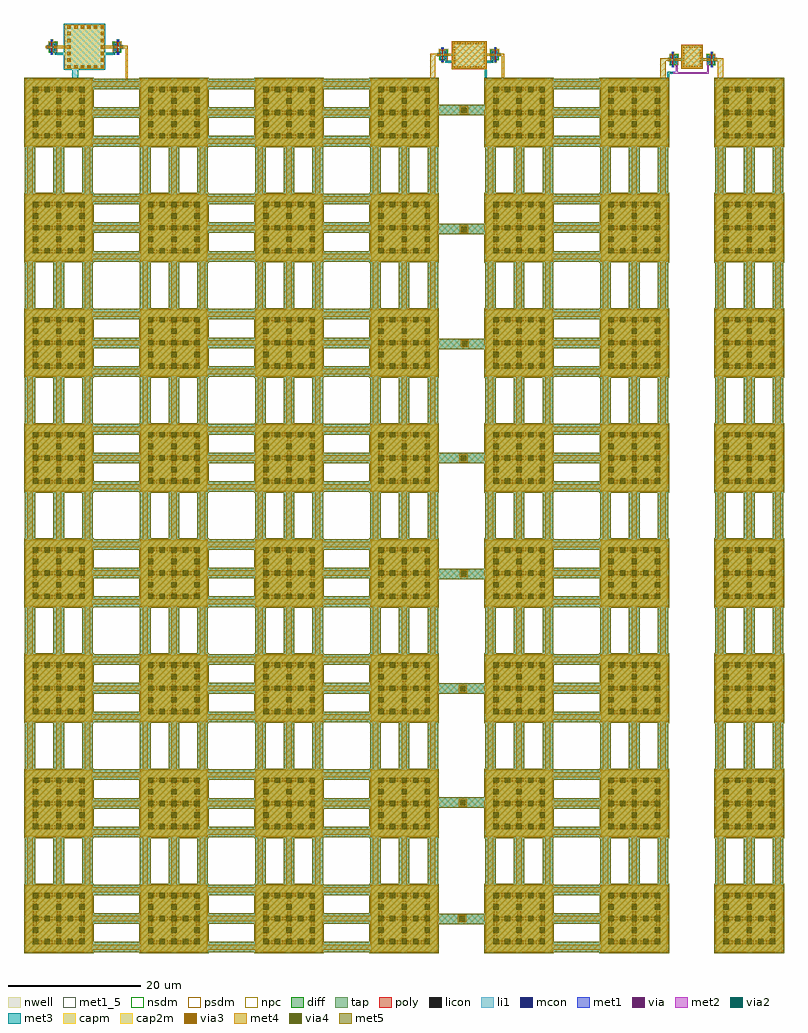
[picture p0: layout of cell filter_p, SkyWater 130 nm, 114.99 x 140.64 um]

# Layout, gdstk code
from math import pi, radians
import gdstk
lib = gdstk.Library(unit=1e-6, precision=1e-09)
def R(c, l, rs):  # rectangles x0, y0, x1, y1
    for r in rs: c.add(gdstk.rectangle(r[:2], r[2:], *l))
def A(c, l, x, y, w, h, nx, ny, dx, dy):  # array of equal rectangles
    R(c, l, [(x+i*dx, y+j*dy, x+i*dx+w, y+j*dy+h) for i in range(nx) for j in range(ny)])
nwell = (64, 20)
diff = (65, 20)
tap = (65, 44)
poly = (66, 20)
licon = (66, 44)
li1 = (67, 20)
mcon = (67, 44)
met1_5 = (68, 5)
met1 = (68, 20)
via = (68, 44)
met2 = (69, 20)
via2 = (69, 44)
met3 = (70, 20)
via3 = (70, 44)
met4 = (71, 20)
via4 = (71, 44)
met5 = (72, 20)
capm = (89, 44)
nsdm = (93, 44)
psdm = (94, 20)
npc = (95, 20)
cap2m = (97, 44)

cmos_switch_fin = lib.new_cell('cmos_switch_fin')
R(cmos_switch_fin, nwell, [(-0.47,0.81,0.925,1.65)])
R(cmos_switch_fin, diff, [(-0.29,0.05,0.46,0.47), (-0.29,0.995,0.455,1.415)])
R(cmos_switch_fin, tap, [(0.46,0.05,0.75,0.47), (0.455,0.995,0.745,1.415)])
R(cmos_switch_fin, poly, [(-0.01,-0.39,0.16,-0.36), (-0.06,-0.36,0.21,-0.08), (-0.01,-0.08,0.16,-0.06), (0,-0.06,0.15,0.6), (0,0.865,0.15,1.575), (-0.01,1.575,0.16,1.595), (-0.06,1.595,0.21,1.875), (-0.01,1.875,0.16,1.905)])
R(cmos_switch_fin, licon, [(-0.01,-0.31,0.16,-0.14), (-0.25,0.18,-0.08,0.35), (0.23,0.18,0.4,0.35), (0.58,0.18,0.75,0.35), (-0.25,1.115,-0.08,1.285), (0.23,1.115,0.4,1.285), (0.57,1.115,0.74,1.285), (-0.01,1.655,0.16,1.825)])
R(cmos_switch_fin, li1, [(-0.01,-0.39,0.16,-0.06), (0.58,-0.365,0.75,0.43), (-0.25,0.1,-0.08,0.68), (0.23,0.1,0.4,0.68), (-0.47,0.68,-0.08,0.85), (0.23,0.68,0.62,0.85), (-0.25,0.85,-0.08,1.365), (0.23,0.85,0.4,1.365), (0.57,1.035,0.74,1.365), (-0.01,1.575,0.16,1.905)])
R(cmos_switch_fin, mcon, [(0.58,-0.365,0.75,-0.195), (-0.01,-0.31,0.16,-0.14), (-0.47,0.68,-0.3,0.85), (0.45,0.68,0.62,0.85), (-0.01,1.65,0.16,1.82)])
R(cmos_switch_fin, met1_5, [(-0.01,-0.31,0.16,-0.14), (-0.47,0.68,-0.3,0.85), (0.45,0.68,0.62,0.85), (-0.01,1.65,0.16,1.82)])
R(cmos_switch_fin, met1, [(0.52,-0.44,0.81,-0.115), (-0.08,-0.38,0.23,-0.06), (-0.545,0.605,-0.225,0.925), (0.375,0.61,0.695,0.92), (-0.08,1.57,0.23,1.89)])
R(cmos_switch_fin, via, [(0.59,-0.355,0.74,-0.205), (-0.46,0.69,-0.31,0.84), (0.46,0.69,0.61,0.84)])
R(cmos_switch_fin, met2, [(0.535,-0.44,0.795,-0.115), (-0.525,0.58,-0.245,0.95), (0.395,0.58,0.675,0.95)])
R(cmos_switch_fin, via2, [(-0.485,0.665,-0.285,0.865), (0.435,0.665,0.635,0.865)])
R(cmos_switch_fin, met3, [(0.35,0.51,0.85,1.01), (-0.7,0.515,-0.2,1.015)])
R(cmos_switch_fin, via3, [(-0.485,0.665,-0.285,0.865), (0.435,0.665,0.635,0.865)])
R(cmos_switch_fin, met4, [(-0.875,0.585,-0.205,0.945), (0.355,0.585,1.025,0.945)])
R(cmos_switch_fin, nsdm, [(-0.415,-0.075,0.46,0.595), (0.265,0.595,0.65,0.87), (0.455,0.87,0.87,1.54)])
R(cmos_switch_fin, psdm, [(0.46,-0.075,0.875,0.595), (0.075,0.595,0.84,0.87), (-0.415,0.87,0.455,1.54)])
R(cmos_switch_fin, npc, [(-0.11,-0.41,0.26,-0.04), (-0.11,1.555,0.26,1.925)])
cmos_switch_fin.add(gdstk.Label('phib', (0.075,1.735), layer=68, texttype=5))
cmos_switch_fin.add(gdstk.Label('in', (-0.385,0.765), layer=68, texttype=5))
cmos_switch_fin.add(gdstk.Label('phi', (0.075,-0.225), layer=68, texttype=5))
cmos_switch_fin.add(gdstk.Label('out', (0.535,0.765), layer=68, texttype=5))

cap_40ff = lib.new_cell('cap_40fF')
R(cap_40ff, met3, [(-0.14,-0.14,6.84,6.14)])
A(cap_40ff, via3, 0.23, 0.23, 0.2, 0.2, 7, 2, 1, 5)
A(cap_40ff, via3, 0.23, 1.23, 0.2, 0.2, 1, 4, 0, 1)
A(cap_40ff, via3, 6.23, 1.23, 0.2, 0.2, 1, 4, 0, 1)
A(cap_40ff, met4, 0.07, 0.07, 0.52, 0.52, 7, 2, 1, 5)
A(cap_40ff, met4, 0.07, 1.07, 0.52, 0.52, 1, 4, 0, 1)
A(cap_40ff, met4, 6.07, 1.07, 0.52, 0.52, 1, 4, 0, 1)
R(cap_40ff, capm, [(0,0,6.7,6)])

cap_10ff = lib.new_cell('cap_10fF')
R(cap_10ff, met3, [(-0.14,-0.14,3.54,3.14)])
A(cap_10ff, via3, 0.565, 0.14, 0.2, 0.2, 6, 2, 0.4, 2.52)
A(cap_10ff, via3, 0.14, 0.6, 0.2, 0.2, 1, 5, 0, 0.4)
A(cap_10ff, via3, 3.025, 0.6, 0.2, 0.2, 1, 5, 0, 0.4)
R(cap_10ff, via3, [(0.14,0.14,0.34,0.34), (3.025,0.14,3.225,0.34), (0.14,2.66,0.34,2.86), (3.025,2.66,3.225,2.86)])
R(cap_10ff, met4, [(-0.14,-0.14,3.54,3.14)])
R(cap_10ff, capm, [(0,0,3.4,3)])

cap_20ff = lib.new_cell('cap_20fF')
R(cap_20ff, met3, [(-0.14,-0.14,4.14,5.14)])
A(cap_20ff, via3, 0.7, 0.14, 0.2, 0.2, 7, 2, 0.4, 4.52)
A(cap_20ff, via3, 0.14, 0.6, 0.2, 0.2, 1, 10, 0, 0.4)
A(cap_20ff, via3, 3.66, 0.6, 0.2, 0.2, 1, 10, 0, 0.4)
R(cap_20ff, via3, [(0.14,0.14,0.34,0.34), (3.66,0.14,3.86,0.34), (0.14,4.66,0.34,4.86), (3.66,4.66,3.86,4.86)])
R(cap_20ff, met4, [(-0.14,-0.14,4.14,5.14)])
R(cap_20ff, capm, [(0,0,4,5)])

cap_10_10_side2_x2 = lib.new_cell('cap_10_10_side2_x2')
R(cap_10_10_side2_x2, met3, [(-0.22,-3.74,1.38,-0.3), (4.12,-3.74,5.72,-0.29), (8.46,-3.74,10.06,-0.3), (-0.34,-0.3,1.38,-0.29), (8.46,-0.3,10.18,-0.29), (-0.34,-0.29,10.18,10.23)])
A(cap_10_10_side2_x2, via3, 1.02, 1.07, 0.2, 0.2, 20, 2, 0.4, 0.4)
A(cap_10_10_side2_x2, via3, 1.02, 1.87, 0.2, 0.2, 1, 7, 0, 0.4)
A(cap_10_10_side2_x2, via3, 1.42, 1.87, 0.2, 0.2, 1, 7, 0, 0.4)
A(cap_10_10_side2_x2, via3, 4.62, 1.87, 0.2, 0.2, 1, 7, 0, 0.4)
A(cap_10_10_side2_x2, via3, 5.02, 1.87, 0.2, 0.2, 1, 7, 0, 0.4)
A(cap_10_10_side2_x2, via3, 8.22, 1.87, 0.2, 0.2, 1, 7, 0, 0.4)
A(cap_10_10_side2_x2, via3, 8.62, 1.87, 0.2, 0.2, 1, 7, 0, 0.4)
A(cap_10_10_side2_x2, via3, 1.02, 4.67, 0.2, 0.2, 20, 2, 0.4, 0.4)
A(cap_10_10_side2_x2, via3, 1.02, 5.47, 0.2, 0.2, 1, 7, 0, 0.4)
A(cap_10_10_side2_x2, via3, 1.42, 5.47, 0.2, 0.2, 1, 7, 0, 0.4)
A(cap_10_10_side2_x2, via3, 4.62, 5.47, 0.2, 0.2, 1, 7, 0, 0.4)
A(cap_10_10_side2_x2, via3, 5.02, 5.47, 0.2, 0.2, 1, 7, 0, 0.4)
A(cap_10_10_side2_x2, via3, 8.22, 5.47, 0.2, 0.2, 1, 7, 0, 0.4)
A(cap_10_10_side2_x2, via3, 8.62, 5.47, 0.2, 0.2, 1, 7, 0, 0.4)
A(cap_10_10_side2_x2, via3, 1.02, 8.27, 0.2, 0.2, 20, 2, 0.4, 0.4)
A(cap_10_10_side2_x2, met4, 0.18, -3.74, 0.8, 3.57, 3, 1, 4.34, 0)
A(cap_10_10_side2_x2, met4, -0.34, 0.23, 10.52, 0.8, 1, 3, 0, 4.34)
A(cap_10_10_side2_x2, met4, 0.18, 10.11, 0.8, 0.12, 3, 1, 4.34, 0)
R(cap_10_10_side2_x2, met4, [(-0.22,-0.17,10.06,0.23), (-0.22,1.03,10.06,4.57), (-0.22,5.37,10.06,8.91), (-0.22,9.71,10.06,10.11)])
A(cap_10_10_side2_x2, via4, 1.02, 1.07, 0.8, 0.8, 5, 3, 1.75, 3.5)
A(cap_10_10_side2_x2, via4, 1.02, 2.82, 0.8, 0.8, 3, 2, 3.5, 3.5)
R(cap_10_10_side2_x2, met5, [(-0.22,-3.74,1.38,-0.3), (4.12,-3.74,5.72,-0.29), (8.46,-3.74,10.06,-0.3), (-0.34,-0.3,1.38,-0.29), (8.46,-0.3,10.18,-0.29), (-0.34,-0.29,10.18,10.23)])
R(cap_10_10_side2_x2, capm, [(-0.08,-0.03,9.92,9.97)])
R(cap_10_10_side2_x2, cap2m, [(-0.08,-0.03,9.92,9.97)])

cap_10_10_center_x2 = lib.new_cell('cap_10_10_center_x2')
R(cap_10_10_center_x2, met3, [(-0.22,-3.74,1.38,-0.3), (4.12,-3.74,5.72,-0.29), (8.46,-3.74,10.06,-0.3), (-0.34,-0.3,1.38,-0.29), (8.46,-0.3,10.18,-0.29), (-0.34,-0.29,10.18,10.23), (-0.34,10.23,1.38,10.24), (4.12,10.23,5.72,13.68), (8.46,10.23,10.18,10.24), (-0.22,10.24,1.38,13.68), (8.46,10.24,10.06,13.68)])
A(cap_10_10_center_x2, via3, 1.02, 1.07, 0.2, 0.2, 20, 2, 0.4, 0.4)
A(cap_10_10_center_x2, via3, 1.02, 1.87, 0.2, 0.2, 1, 7, 0, 0.4)
A(cap_10_10_center_x2, via3, 1.42, 1.87, 0.2, 0.2, 1, 7, 0, 0.4)
A(cap_10_10_center_x2, via3, 4.62, 1.87, 0.2, 0.2, 1, 7, 0, 0.4)
A(cap_10_10_center_x2, via3, 5.02, 1.87, 0.2, 0.2, 1, 7, 0, 0.4)
A(cap_10_10_center_x2, via3, 8.22, 1.87, 0.2, 0.2, 1, 7, 0, 0.4)
A(cap_10_10_center_x2, via3, 8.62, 1.87, 0.2, 0.2, 1, 7, 0, 0.4)
A(cap_10_10_center_x2, via3, 1.02, 4.67, 0.2, 0.2, 20, 2, 0.4, 0.4)
A(cap_10_10_center_x2, via3, 1.02, 5.47, 0.2, 0.2, 1, 7, 0, 0.4)
A(cap_10_10_center_x2, via3, 1.42, 5.47, 0.2, 0.2, 1, 7, 0, 0.4)
A(cap_10_10_center_x2, via3, 4.62, 5.47, 0.2, 0.2, 1, 7, 0, 0.4)
A(cap_10_10_center_x2, via3, 5.02, 5.47, 0.2, 0.2, 1, 7, 0, 0.4)
A(cap_10_10_center_x2, via3, 8.22, 5.47, 0.2, 0.2, 1, 7, 0, 0.4)
A(cap_10_10_center_x2, via3, 8.62, 5.47, 0.2, 0.2, 1, 7, 0, 0.4)
A(cap_10_10_center_x2, via3, 1.02, 8.27, 0.2, 0.2, 20, 2, 0.4, 0.4)
A(cap_10_10_center_x2, met4, 0.18, -3.74, 0.8, 3.57, 3, 2, 4.34, 13.85)
A(cap_10_10_center_x2, met4, -0.34, 0.23, 10.52, 0.8, 1, 3, 0, 4.34)
R(cap_10_10_center_x2, met4, [(-0.22,-0.17,10.06,0.23), (-0.22,1.03,10.06,4.57), (-0.22,5.37,10.06,8.91), (-0.22,9.71,10.06,10.11)])
A(cap_10_10_center_x2, via4, 1.02, 1.07, 0.8, 0.8, 5, 3, 1.75, 3.5)
A(cap_10_10_center_x2, via4, 1.02, 2.82, 0.8, 0.8, 3, 2, 3.5, 3.5)
R(cap_10_10_center_x2, met5, [(-0.22,-3.74,1.38,-0.3), (4.12,-3.74,5.72,-0.29), (8.46,-3.74,10.06,-0.3), (-0.34,-0.3,1.38,-0.29), (8.46,-0.3,10.18,-0.29), (-0.34,-0.29,10.18,10.23), (-0.34,10.23,1.38,10.24), (4.12,10.23,5.72,13.68), (8.46,10.23,10.18,10.24), (-0.22,10.24,1.38,13.68), (8.46,10.24,10.06,13.68)])
R(cap_10_10_center_x2, capm, [(-0.08,-0.03,9.92,9.97)])
R(cap_10_10_center_x2, cap2m, [(-0.08,-0.03,9.92,9.97)])

cap_3pf_8x1 = lib.new_cell('cap_3pF_8x1')
cap_3pf_8x1.add(gdstk.Reference(cap_10_10_side2_x2, (108.26,10.18), rotation=3*pi/2))
cap_3pf_8x1.add(gdstk.Reference(cap_10_10_side2_x2, (-3.74,0.34), rotation=pi/2))
r = gdstk.Reference(cap_10_10_center_x2, (3.74,10.18), rotation=3*pi/2); r.repetition = gdstk.Repetition(1, 6, v1=(0,10.52), v2=(17.42,0)); cap_3pf_8x1.add(r)

cap_10_10_edge_x2 = lib.new_cell('cap_10_10_edge_x2')
A(cap_10_10_edge_x2, met3, -0.34, -0.17, 13.97, 1.6, 1, 3, 0, 4.34)
R(cap_10_10_edge_x2, met3, [(-0.34,-0.29,10.19,-0.17), (-0.34,1.43,10.18,4.17), (-0.34,5.77,10.18,8.51), (-0.34,10.11,10.19,10.23), (-0.34,10.23,1.38,10.24), (4.12,10.23,5.72,13.68), (8.46,10.23,10.19,10.24), (-0.22,10.24,1.38,13.68), (8.46,10.24,10.06,13.68)])
A(cap_10_10_edge_x2, via3, 1.02, 1.07, 0.2, 0.2, 20, 2, 0.4, 0.4)
A(cap_10_10_edge_x2, via3, 1.02, 1.87, 0.2, 0.2, 1, 7, 0, 0.4)
A(cap_10_10_edge_x2, via3, 1.42, 1.87, 0.2, 0.2, 1, 7, 0, 0.4)
A(cap_10_10_edge_x2, via3, 4.62, 1.87, 0.2, 0.2, 1, 7, 0, 0.4)
A(cap_10_10_edge_x2, via3, 5.02, 1.87, 0.2, 0.2, 1, 7, 0, 0.4)
A(cap_10_10_edge_x2, via3, 8.22, 1.87, 0.2, 0.2, 1, 7, 0, 0.4)
A(cap_10_10_edge_x2, via3, 8.62, 1.87, 0.2, 0.2, 1, 7, 0, 0.4)
A(cap_10_10_edge_x2, via3, 1.02, 4.67, 0.2, 0.2, 20, 2, 0.4, 0.4)
A(cap_10_10_edge_x2, via3, 1.02, 5.47, 0.2, 0.2, 1, 7, 0, 0.4)
A(cap_10_10_edge_x2, via3, 1.42, 5.47, 0.2, 0.2, 1, 7, 0, 0.4)
A(cap_10_10_edge_x2, via3, 4.62, 5.47, 0.2, 0.2, 1, 7, 0, 0.4)
A(cap_10_10_edge_x2, via3, 5.02, 5.47, 0.2, 0.2, 1, 7, 0, 0.4)
A(cap_10_10_edge_x2, via3, 8.22, 5.47, 0.2, 0.2, 1, 7, 0, 0.4)
A(cap_10_10_edge_x2, via3, 8.62, 5.47, 0.2, 0.2, 1, 7, 0, 0.4)
A(cap_10_10_edge_x2, via3, 1.02, 8.27, 0.2, 0.2, 20, 2, 0.4, 0.4)
A(cap_10_10_edge_x2, met4, 0.18, -0.29, 0.8, 0.12, 3, 1, 4.34, 0)
A(cap_10_10_edge_x2, met4, -0.34, 0.23, 13.97, 0.8, 1, 3, 0, 4.34)
A(cap_10_10_edge_x2, met4, 0.18, 10.11, 0.8, 3.57, 3, 1, 4.34, 0)
R(cap_10_10_edge_x2, met4, [(-0.22,-0.17,10.06,0.23), (-0.22,1.03,10.06,4.57), (-0.22,5.37,10.06,8.91), (-0.22,9.71,10.06,10.11)])
A(cap_10_10_edge_x2, via4, 1.02, 1.07, 0.8, 0.8, 5, 3, 1.75, 3.5)
A(cap_10_10_edge_x2, via4, 1.02, 2.82, 0.8, 0.8, 3, 2, 3.5, 3.5)
A(cap_10_10_edge_x2, met5, -0.34, -0.17, 13.97, 1.6, 1, 3, 0, 4.34)
R(cap_10_10_edge_x2, met5, [(-0.34,-0.29,10.19,-0.17), (-0.34,1.43,10.18,4.17), (-0.34,5.77,10.18,8.51), (-0.34,10.11,10.19,10.23), (-0.34,10.23,1.38,10.24), (4.12,10.23,5.72,13.68), (8.46,10.23,10.19,10.24), (-0.22,10.24,1.38,13.68), (8.46,10.24,10.06,13.68)])
R(cap_10_10_edge_x2, capm, [(-0.08,-0.03,9.92,9.97)])
R(cap_10_10_edge_x2, cap2m, [(-0.08,-0.03,9.92,9.97)])

cap_10_10__side_x2 = lib.new_cell('cap_10_10__side_x2')
A(cap_10_10__side_x2, met3, -0.34, -0.17, 13.97, 1.6, 1, 3, 0, 4.34)
R(cap_10_10__side_x2, met3, [(-0.22,-3.74,1.38,-0.3), (4.12,-3.74,5.72,-0.29), (8.46,-3.74,10.06,-0.3), (-0.34,-0.3,1.38,-0.29), (8.46,-0.3,10.19,-0.29), (-0.34,-0.29,10.19,-0.17), (-0.34,1.43,10.18,4.17), (-0.34,5.77,10.18,8.51), (-0.34,10.11,10.19,10.23), (-0.34,10.23,1.38,10.24), (4.12,10.23,5.72,13.68), (8.46,10.23,10.19,10.24), (-0.22,10.24,1.38,13.68), (8.46,10.24,10.06,13.68)])
A(cap_10_10__side_x2, via3, 1.02, 1.07, 0.2, 0.2, 20, 2, 0.4, 0.4)
A(cap_10_10__side_x2, via3, 1.02, 1.87, 0.2, 0.2, 1, 7, 0, 0.4)
A(cap_10_10__side_x2, via3, 1.42, 1.87, 0.2, 0.2, 1, 7, 0, 0.4)
A(cap_10_10__side_x2, via3, 4.62, 1.87, 0.2, 0.2, 1, 7, 0, 0.4)
A(cap_10_10__side_x2, via3, 5.02, 1.87, 0.2, 0.2, 1, 7, 0, 0.4)
A(cap_10_10__side_x2, via3, 8.22, 1.87, 0.2, 0.2, 1, 7, 0, 0.4)
A(cap_10_10__side_x2, via3, 8.62, 1.87, 0.2, 0.2, 1, 7, 0, 0.4)
A(cap_10_10__side_x2, via3, 1.02, 4.67, 0.2, 0.2, 20, 2, 0.4, 0.4)
A(cap_10_10__side_x2, via3, 1.02, 5.47, 0.2, 0.2, 1, 7, 0, 0.4)
A(cap_10_10__side_x2, via3, 1.42, 5.47, 0.2, 0.2, 1, 7, 0, 0.4)
A(cap_10_10__side_x2, via3, 4.62, 5.47, 0.2, 0.2, 1, 7, 0, 0.4)
A(cap_10_10__side_x2, via3, 5.02, 5.47, 0.2, 0.2, 1, 7, 0, 0.4)
A(cap_10_10__side_x2, via3, 8.22, 5.47, 0.2, 0.2, 1, 7, 0, 0.4)
A(cap_10_10__side_x2, via3, 8.62, 5.47, 0.2, 0.2, 1, 7, 0, 0.4)
A(cap_10_10__side_x2, via3, 1.02, 8.27, 0.2, 0.2, 20, 2, 0.4, 0.4)
A(cap_10_10__side_x2, met4, 0.18, -3.74, 0.8, 3.57, 3, 2, 4.34, 13.85)
A(cap_10_10__side_x2, met4, -0.34, 0.23, 13.97, 0.8, 1, 3, 0, 4.34)
R(cap_10_10__side_x2, met4, [(-0.22,-0.17,10.06,0.23), (-0.22,1.03,10.06,4.57), (-0.22,5.37,10.06,8.91), (-0.22,9.71,10.06,10.11)])
A(cap_10_10__side_x2, via4, 1.02, 1.07, 0.8, 0.8, 5, 3, 1.75, 3.5)
A(cap_10_10__side_x2, via4, 1.02, 2.82, 0.8, 0.8, 3, 2, 3.5, 3.5)
A(cap_10_10__side_x2, met5, -0.34, -0.17, 13.97, 1.6, 1, 3, 0, 4.34)
R(cap_10_10__side_x2, met5, [(-0.22,-3.74,1.38,-0.3), (4.12,-3.74,5.72,-0.29), (8.46,-3.74,10.06,-0.3), (-0.34,-0.3,1.38,-0.29), (8.46,-0.3,10.19,-0.29), (-0.34,-0.29,10.19,-0.17), (-0.34,1.43,10.18,4.17), (-0.34,5.77,10.18,8.51), (-0.34,10.11,10.19,10.23), (-0.34,10.23,1.38,10.24), (4.12,10.23,5.72,13.68), (8.46,10.23,10.19,10.24), (-0.22,10.24,1.38,13.68), (8.46,10.24,10.06,13.68)])
R(cap_10_10__side_x2, capm, [(-0.08,-0.03,9.92,9.97)])
R(cap_10_10__side_x2, cap2m, [(-0.08,-0.03,9.92,9.97)])

cap_6pf_8x2 = lib.new_cell('cap_6pF_8x2')
cap_6pf_8x2.add(gdstk.Reference(cap_10_10_edge_x2, (118.2,0.34), rotation=pi/2))
cap_6pf_8x2.add(gdstk.Reference(cap_10_10_edge_x2, (118.15,27.65), rotation=pi))
cap_6pf_8x2.add(gdstk.Reference(cap_10_10_edge_x2, (-13.68,27.6), rotation=3*pi/2))
cap_6pf_8x2.add(gdstk.Reference(cap_10_10_edge_x2, (-13.63,0.29)))
r = gdstk.Reference(cap_10_10__side_x2, (90.84,27.6), rotation=3*pi/2); r.repetition = gdstk.Repetition(1, 6, v1=(0,-13.97), v2=(-17.42,0)); cap_6pf_8x2.add(r)
r = gdstk.Reference(cap_10_10__side_x2, (13.68,0.34), rotation=pi/2); r.repetition = gdstk.Repetition(1, 6, v1=(0,13.97), v2=(17.42,0)); cap_6pf_8x2.add(r)

cap_10_10_x2 = lib.new_cell('cap_10_10_x2')
A(cap_10_10_x2, met3, -3.79, -0.17, 17.42, 1.6, 1, 3, 0, 4.34)
R(cap_10_10_x2, met3, [(-0.22,-3.74,1.38,-0.3), (4.12,-3.74,5.72,-0.29), (8.46,-3.74,10.06,-0.3), (-0.35,-0.3,1.38,-0.29), (8.46,-0.3,10.19,-0.29), (-0.35,-0.29,10.19,-0.17), (-0.34,1.43,10.18,4.17), (-0.34,5.77,10.18,8.51), (-0.35,10.11,10.19,10.23), (-0.35,10.23,1.38,10.24), (4.12,10.23,5.72,13.68), (8.46,10.23,10.19,10.24), (-0.22,10.24,1.38,13.68), (8.46,10.24,10.06,13.68)])
A(cap_10_10_x2, via3, 1.02, 1.07, 0.2, 0.2, 20, 2, 0.4, 0.4)
A(cap_10_10_x2, via3, 1.02, 1.87, 0.2, 0.2, 1, 7, 0, 0.4)
A(cap_10_10_x2, via3, 1.42, 1.87, 0.2, 0.2, 1, 7, 0, 0.4)
A(cap_10_10_x2, via3, 4.62, 1.87, 0.2, 0.2, 1, 7, 0, 0.4)
A(cap_10_10_x2, via3, 5.02, 1.87, 0.2, 0.2, 1, 7, 0, 0.4)
A(cap_10_10_x2, via3, 8.22, 1.87, 0.2, 0.2, 1, 7, 0, 0.4)
A(cap_10_10_x2, via3, 8.62, 1.87, 0.2, 0.2, 1, 7, 0, 0.4)
A(cap_10_10_x2, via3, 1.02, 4.67, 0.2, 0.2, 20, 2, 0.4, 0.4)
A(cap_10_10_x2, via3, 1.02, 5.47, 0.2, 0.2, 1, 7, 0, 0.4)
A(cap_10_10_x2, via3, 1.42, 5.47, 0.2, 0.2, 1, 7, 0, 0.4)
A(cap_10_10_x2, via3, 4.62, 5.47, 0.2, 0.2, 1, 7, 0, 0.4)
A(cap_10_10_x2, via3, 5.02, 5.47, 0.2, 0.2, 1, 7, 0, 0.4)
A(cap_10_10_x2, via3, 8.22, 5.47, 0.2, 0.2, 1, 7, 0, 0.4)
A(cap_10_10_x2, via3, 8.62, 5.47, 0.2, 0.2, 1, 7, 0, 0.4)
A(cap_10_10_x2, via3, 1.02, 8.27, 0.2, 0.2, 20, 2, 0.4, 0.4)
A(cap_10_10_x2, met4, 0.18, -3.74, 0.8, 3.57, 3, 2, 4.34, 13.85)
A(cap_10_10_x2, met4, -3.79, 0.23, 17.42, 0.8, 1, 3, 0, 4.34)
R(cap_10_10_x2, met4, [(-0.22,-0.17,10.06,0.23), (-0.22,1.03,10.06,4.57), (-0.22,5.37,10.06,8.91), (-0.22,9.71,10.06,10.11)])
A(cap_10_10_x2, via4, 1.02, 1.07, 0.8, 0.8, 5, 3, 1.75, 3.5)
A(cap_10_10_x2, via4, 1.02, 2.82, 0.8, 0.8, 3, 2, 3.5, 3.5)
A(cap_10_10_x2, met5, -3.79, -0.17, 17.42, 1.6, 1, 3, 0, 4.34)
R(cap_10_10_x2, met5, [(-0.22,-3.74,1.38,-0.3), (4.12,-3.74,5.72,-0.29), (8.46,-3.74,10.06,-0.3), (-0.35,-0.3,1.38,-0.29), (8.46,-0.3,10.19,-0.29), (-0.35,-0.29,10.19,-0.17), (-0.34,1.43,10.18,4.17), (-0.34,5.77,10.18,8.51), (-0.35,10.11,10.19,10.23), (-0.35,10.23,1.38,10.24), (4.12,10.23,5.72,13.68), (8.46,10.23,10.19,10.24), (-0.22,10.24,1.38,13.68), (8.46,10.24,10.06,13.68)])
R(cap_10_10_x2, capm, [(-0.08,-0.03,9.92,9.97)])
R(cap_10_10_x2, cap2m, [(-0.08,-0.03,9.92,9.97)])

cap_12pf = lib.new_cell('cap_12pF')
cap_12pf.add(gdstk.Reference(cap_10_10__side_x2, (-13.76,3.74)))
r = gdstk.Reference(cap_10_10__side_x2, (13.55,-13.63), rotation=pi/2); r.repetition = gdstk.Repetition(1, 6, v1=(0,13.97), v2=(17.42,0)); cap_12pf.add(r)
cap_12pf.add(gdstk.Reference(cap_10_10__side_x2, (118.02,13.68), rotation=pi))
cap_12pf.add(gdstk.Reference(cap_10_10_edge_x2, (-13.76,-13.68)))
cap_12pf.add(gdstk.Reference(cap_10_10_edge_x2, (118.07,-13.63), rotation=pi/2))
cap_12pf.add(gdstk.Reference(cap_10_10__side_x2, (-13.76,21.16)))
r = gdstk.Reference(cap_10_10__side_x2, (90.71,48.47), rotation=3*pi/2); r.repetition = gdstk.Repetition(1, 6, v1=(0,-13.97), v2=(-17.42,0)); cap_12pf.add(r)
cap_12pf.add(gdstk.Reference(cap_10_10__side_x2, (118.02,31.1), rotation=pi))
cap_12pf.add(gdstk.Reference(cap_10_10_edge_x2, (-13.81,48.47), rotation=3*pi/2))
cap_12pf.add(gdstk.Reference(cap_10_10_edge_x2, (118.02,48.52), rotation=pi))
r = gdstk.Reference(cap_10_10_x2, (3.66,3.74)); r.repetition = gdstk.Repetition(6, 2, v1=(17.42,0), v2=(0,17.42)); cap_12pf.add(r)

filter_p = lib.new_cell('filter_p')
R(filter_p, met2, [(43.055,136.765,47.78,136.77), (41.955,136.77,47.78,137.01), (41.955,137.01,43.07,137.05), (47.545,137.01,47.78,137.81), (42.81,137.05,43.07,137.79), (7.895,138.445,8.265,138.725), (14.73,138.45,15.1,138.73), (-42.385,139.625,-42.015,139.905), (-51.205,139.63,-50.835,139.91)])
R(filter_p, via2, [(42.04,136.81,42.24,137.01), (7.98,138.485,8.18,138.685), (14.815,138.49,15.015,138.69), (-42.3,139.665,-42.1,139.865), (-51.12,139.67,-50.92,139.87)])
R(filter_p, met3, [(6.79,8.075,13.955,9.675), (6.825,25.685,13.99,27.285), (6.865,42.93,14.03,44.53), (6.835,60.305,14,61.905), (6.8,77.795,13.965,79.395), (6.845,95.06,14.01,96.66), (6.81,112.45,13.975,114.05), (6.755,130.45,13.92,132.05), (13.855,135.78,14.16,137.825), (41.465,136.065,41.765,136.745), (-48.555,136.075,-47.645,137.585), (41.465,136.745,42.325,137.045), (41.955,137.045,42.325,137.075), (13.9,137.825,14.14,137.895), (7.895,138.42,8.995,138.75), (14.08,138.425,15.18,138.755), (-43.55,139.6,-42.01,139.93), (-51.205,139.605,-49.68,139.935)])
R(filter_p, via3, [(10.335,8.825,10.535,9.025), (10.435,26.35,10.635,26.55), (10.425,43.595,10.625,43.795), (10.57,61.035,10.77,61.235), (10.535,78.465,10.735,78.665), (10.725,95.835,10.925,96.035), (10.61,113.105,10.81,113.305), (10.625,131.135,10.825,131.335)])
R(filter_p, met4, [(9.83,8.345,11.095,9.53), (9.93,25.87,11.195,27.055), (9.92,43.115,11.185,44.3), (10.065,60.555,11.33,61.74), (10.03,77.985,11.295,79.17), (10.22,95.355,11.485,96.54), (10.105,112.625,11.37,113.81), (10.12,130.655,11.385,131.84), (-40.415,135.59,-40.115,140.63), (16.475,136.01,16.865,139.45), (49.17,136.1,49.96,139.1), (40.445,136.11,41.245,138.74), (5.63,136.135,6.43,139.45), (40.445,138.74,41.47,139.1), (43.29,138.74,43.675,139.1), (46.855,138.74,47.33,139.1), (5.63,139.45,6.57,139.81), (8.405,139.45,8.925,139.81), (14.175,139.45,14.575,139.81), (16.45,139.45,16.865,139.81), (-50.675,140.63,-49.15,140.99), (-43.755,140.63,-42.45,140.99), (-40.685,140.63,-40.115,140.99)])
R(filter_p, via4, [(10.06,8.535,10.86,9.335), (10.16,26.06,10.96,26.86), (10.15,43.305,10.95,44.105), (10.295,60.745,11.095,61.545), (10.26,78.175,11.06,78.975), (10.45,95.545,11.25,96.345), (10.335,112.815,11.135,113.615), (10.35,130.845,11.15,131.645)])
R(filter_p, met5, [(6.79,8.075,13.955,9.675), (6.825,25.685,13.99,27.285), (6.865,42.93,14.03,44.53), (6.835,60.305,14,61.905), (6.8,77.795,13.965,79.395), (6.845,95.06,14.01,96.66), (6.81,112.45,13.975,114.05), (6.755,130.45,13.92,132.05)])
filter_p.add(gdstk.Reference(cmos_switch_fin, (-51.685,140.045)))
filter_p.add(gdstk.Reference(cmos_switch_fin, (-41.535,140.045), rotation=pi, x_reflection=True))
filter_p.add(gdstk.Reference(cap_40ff, (-43.66,137.49), rotation=pi/2))
filter_p.add(gdstk.Reference(cmos_switch_fin, (7.415,138.865)))
filter_p.add(gdstk.Reference(cmos_switch_fin, (15.58,138.865), rotation=pi, x_reflection=True))
filter_p.add(gdstk.Reference(cmos_switch_fin, (42.275,138.155)))
filter_p.add(gdstk.Reference(cmos_switch_fin, (48.325,138.155), rotation=pi, x_reflection=True))
filter_p.add(gdstk.Reference(cap_10ff, (46.745,137.645), rotation=pi/2))
filter_p.add(gdstk.Reference(cap_20ff, (14.045,137.57), rotation=pi/2))
filter_p.add(gdstk.Reference(cap_3pf_8x1, (59.16,17.66), rotation=pi/2))
filter_p.add(gdstk.Reference(cap_6pf_8x2, (41.765,17.66), rotation=pi/2))
filter_p.add(gdstk.Reference(cap_12pf, (-7.02,17.79), rotation=pi/2))

lib.write_gds('filter_p.gds')
